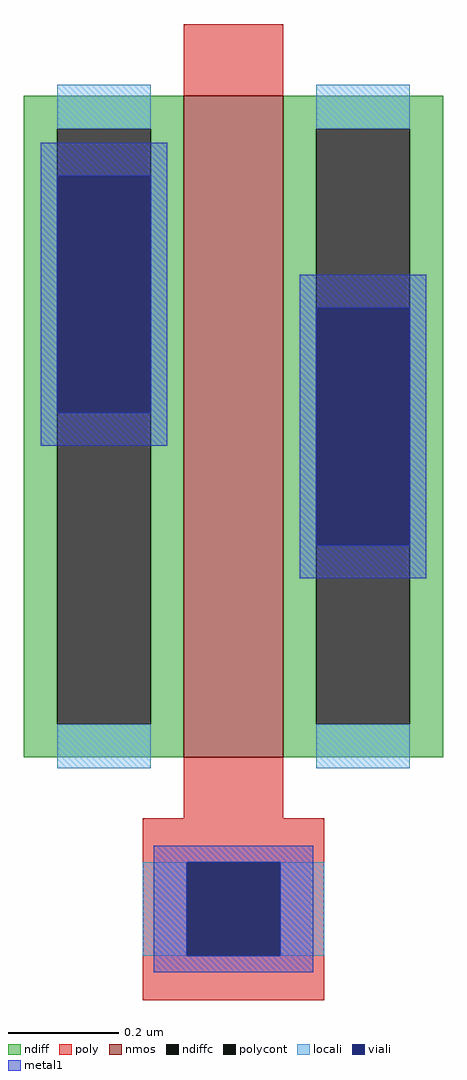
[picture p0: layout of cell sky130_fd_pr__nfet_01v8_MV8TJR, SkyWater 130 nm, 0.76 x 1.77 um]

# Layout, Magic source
magic
tech sky130A
magscale 1 2
<< nmos >>
rect -18 -89 18 151
<< ndiff >>
rect -76 139 -18 151
rect -76 -77 -64 139
rect -30 -77 -18 139
rect -76 -89 -18 -77
rect 18 139 76 151
rect 18 -77 30 139
rect 64 -77 76 139
rect 18 -89 76 -77
<< ndiffc >>
rect -64 -77 -30 139
rect 30 -77 64 139
<< poly >>
rect -18 151 18 177
rect -18 -111 18 -89
rect -33 -127 33 -111
rect -33 -161 -17 -127
rect 17 -161 33 -127
rect -33 -177 33 -161
<< polycont >>
rect -17 -161 17 -127
<< locali >>
rect -64 139 -30 155
rect -64 -93 -30 -77
rect 30 139 64 155
rect 30 -93 64 -77
rect -33 -161 -17 -127
rect 17 -161 33 -127
<< viali >>
rect -64 36 -30 122
rect 30 -12 64 74
rect -17 -161 17 -127
<< metal1 >>
rect -70 122 -24 134
rect -70 36 -64 122
rect -30 36 -24 122
rect -70 24 -24 36
rect 24 74 70 86
rect 24 -12 30 74
rect 64 -12 70 74
rect 24 -24 70 -12
rect -29 -127 29 -121
rect -29 -161 -17 -127
rect 17 -161 29 -127
rect -29 -167 29 -161
<< properties >>
string gencell sky130_fd_pr__nfet_01v8
string library sky130
string parameters w 1.2 l 0.18 m 1 nf 1 diffcov 100 polycov 100 guard 0 glc 0 grc 0 gtc 0 gbc 0 tbcov 100 rlcov 100 topc 0 botc 1 poverlap 0 doverlap 1 lmin 0.15 wmin 0.42 compatible {sky130_fd_pr__nfet_01v8 sky130_fd_pr__nfet_01v8_lvt  sky130_fd_bs_flash__special_sonosfet_star  sky130_fd_pr__nfet_g5v0d10v5 sky130_fd_pr__nfet_05v0_nvt  sky130_fd_pr__nfet_03v3_nvt} full_metal 0 viasrc 40 viadrn -40 viagate 100 viagb 80 viagr 0 viagl 0 viagt 0
<< end >>
